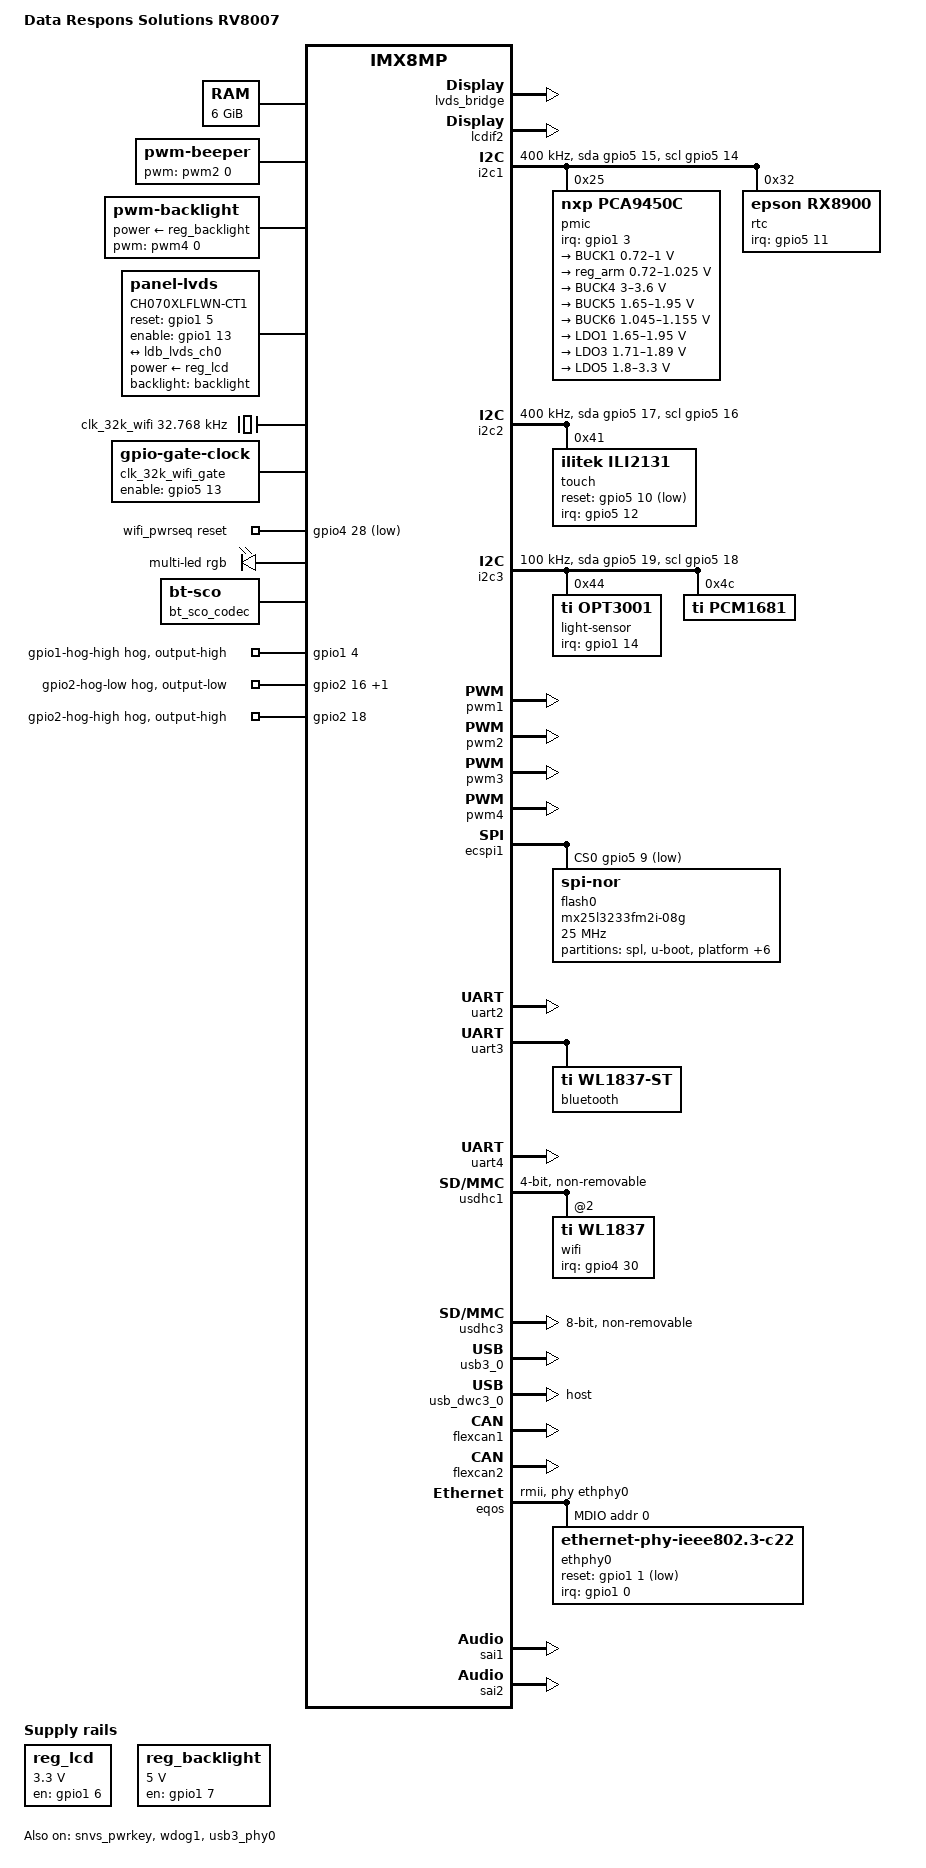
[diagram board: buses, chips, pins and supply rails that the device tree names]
/*
 * Copyright DATA RESPONS AB
 *
 * The code contained herein is licensed under the GNU General Public
 * License. You may obtain a copy of the GNU General Public License
 * Version 2 or later at the following locations:
 *
 * http://www.opensource.org/licenses/gpl-license.html
 * http://www.gnu.org/copyleft/gpl.html
 */

/dts-v1/;

#include <dt-bindings/leds/common.h>
#include "imx8mp.dtsi"

/ {
	model = "Data Respons Solutions RV8007";
	compatible = "drs,rv8007", "fsl,imx8mp";

	aliases {
		spi0 = &ecspi1;
		rtc0 = &rtc;
		rtc1 = &snvs_rtc;
		ethernet0 = &eqos;
		ethernet1 = &fec;
	};

	chosen {
		stdout-path = &uart2;
	};

	memory@40000000 {
		device_type = "memory";
		reg = <0x0 0x40000000 0 0xc0000000>,
		      <0x1 0x00000000 0 0xc0000000>;
	};

	beeper {
		compatible = "pwm-beeper";
		pwms = <&pwm2 0 1000000 0>;
		beeper-hz = <2731>;
	};

	reg_lcd: regulator-lcd {
		compatible = "regulator-fixed";
		pinctrl-names = "default";
		pinctrl-0 = <&pinctrl_reg_lcd>;
		regulator-name = "LCD_CON-VDD";
		regulator-min-microvolt = <3300000>;
		regulator-max-microvolt = <3300000>;
		gpio = <&gpio1 6 GPIO_ACTIVE_HIGH>;
		off-on-delay-us = <20000>;
		enable-active-high;
	};

	reg_backlight: regulator-backlight {
		compatible = "regulator-fixed";
		pinctrl-names = "default";
		pinctrl-0 = <&pinctrl_reg_backlight>;
		regulator-name = "VCC_BKL";
		regulator-min-microvolt = <5000000>;
		regulator-max-microvolt = <5000000>;
		gpio = <&gpio1 7 GPIO_ACTIVE_HIGH>;
		off-on-delay-us = <20000>;
		enable-active-high;
	};

	backlight: backlight {
		compatible = "pwm-backlight";
		power-supply = <&reg_backlight>;
		pwms = <&pwm4 0 1000000 0>;
        brightness-levels = <	0 1 2 3 4 5 6 7 8 9 10 15 20 25
        						30 40 50 60 70 80 90 100 120 150
        					>;
		default-brightness-level = <23>;
		status = "okay";
	};

	panel_lvds: ch070xlflwn-ct1 {
		compatible = "panel-lvds";
		pinctrl-names = "default";
		pinctrl-0 = <&pinctrl_panel>;
		label = "CH070XLFLWN-CT1";
		data-mapping = "vesa-24";
		width-mm = <154>;
		height-mm = <86>;
		reset-gpios = <&gpio1 5 GPIO_ACTIVE_HIGH>;
		enable-gpios = <&gpio1 13 GPIO_ACTIVE_HIGH>;
		power-supply = <&reg_lcd>;
		backlight = <&backlight>;

		panel-timing {
			clock-frequency = <51200000>;
			hactive = <1024>;
			vactive = <600>;
			hback-porch = <250>;
			hfront-porch = <60>;
			vback-porch = <15>;
			vfront-porch = <10>;
			hsync-len = <10>;
			vsync-len = <10>;
		};

		port {
			panel_endpoint: endpoint {
				remote-endpoint = <&ldb_lvds_ch0>;
			};
		};
	};

	clk_32k_wifi: clk-32k-wifi {
		compatible = "fixed-clock";
		#clock-cells = <0>;
		clock-frequency = <32768>;
	};

    clk_32k_wifi_gate: clk32kwifigate {
		compatible = "gpio-gate-clock";
		pinctrl-names = "default";
		pinctrl-0 = <&pinctrl_clk_32k_wifi_gate>;
		clocks = <&clk_32k_wifi>;
		#clock-cells = <0>;
		enable-gpios = <&gpio5 13 GPIO_ACTIVE_HIGH>;
    };

	wifi_pwrseq: wifipwrseq {
		compatible = "mmc-pwrseq-simple";
		pinctrl-names = "default";
		pinctrl-0 = <&pinctrl_wifi_pwrseq>;
		reset-gpios = <&gpio4 28 GPIO_ACTIVE_LOW>;
		clocks = <&clk_32k_wifi_gate>;
		clock-names = "ext_clock";
		post-power-on-delay-ms = <500>;
	};

	front-led {
		compatible = "pwm-leds-multicolor";

		multi-led {
			color = <LED_COLOR_ID_RGB>;
			function = LED_FUNCTION_INDICATOR;
			max-brightness = <65535>;

			led-red {
				pwms = <&pwm3 0 1000000 0>;
				color = <LED_COLOR_ID_RED>;
			};

			led-blue {
				pwms = <&pwm1 0 1000000 0>;
				color = <LED_COLOR_ID_BLUE>;
			};
		};
	};

	bt_sco_codec: bt_sco_codec {
		#sound-dai-cells = <1>;
		compatible = "linux,bt-sco";
	};
/*
	sound-bt {
		compatible = "simple-audio-card";
		simple-audio-card,name = "rv8007-bt";
		simple-audio-card,format = "dsp_a";

		simple-audio-card,cpu {
			sound-dai = <&sai2>;
			frame-master;
			bitclock-master;
			bitclock-inversion;
		};

		simple-audio-card,codec {
			sound-dai = <&bt_sco_codec 1>;
		};
	};
*/

	sound-out {
		compatible = "simple-audio-card";
		simple-audio-card,name = "rv8007";
		label = "rv8007";
		simple-audio-card,format = "left_j";
		simple-audio-card,widgets =
			"Line", "OUTFL",
			"Line", "OUTFR",
			"Line", "OUTRL",
			"Line", "OUTRR",
			"Line", "OUTSL",
			"Line", "OUTSR";
		simple-audio-card,routing =
			"OUTFL", "VOUT1",
			"OUTFR", "VOUT2",
			"OUTRL", "VOUT3",
			"OUTRR", "VOUT4",
			"OUTSL", "VOUT5",
			"OUTSR", "VOUT6";

		soundoutcpu: simple-audio-card,cpu {
			sound-dai = <&sai1>;
			frame-master;
			bitclock-master;
			system-clock-direction-out;
			clocks = <&audio_blk_ctrl IMX8MP_CLK_AUDIOMIX_SAI1_MCLK1>;
			dai-tdm-slot-num = <8>;
			dai-tdm-slot-width = <32>;
		};

		simple-audio-card,codec {
			sound-dai = <&pcm1681>;
			dai-tdm-slot-num = <8>;
			dai-tdm-slot-width = <32>;
		};
	};

};

&ldb_lvds_ch0 {
	remote-endpoint = <&panel_endpoint>;
};

&lvds_bridge {
	assigned-clocks = <&clk IMX8MP_CLK_MEDIA_LDB>,
					<&clk IMX8MP_AUDIO_PLL2_OUT>;
	assigned-clock-rates = <358400000>, <358400000>;
	assigned-clock-parents = <&clk IMX8MP_AUDIO_PLL2_OUT>;
	status = "okay";
};

&lcdif2 {
	status = "okay";
};

&A53_0 {
	cpu-supply = <&reg_arm>;
};

&A53_1 {
	cpu-supply = <&reg_arm>;
};

&A53_2 {
	cpu-supply = <&reg_arm>;
};

&A53_3 {
	cpu-supply = <&reg_arm>;
};

&i2c1 {
	clock-frequency = <400000>;
	pinctrl-names = "default", "gpio";
	pinctrl-0 = <&pinctrl_i2c1>;
	pinctrl-1 = <&pinctrl_i2c1_gpio>;
	scl-gpios = <&gpio5 14 GPIO_OPEN_DRAIN>;
	sda-gpios = <&gpio5 15 GPIO_OPEN_DRAIN>;
	status = "okay";

	pmic@25 {
		compatible = "nxp,pca9450c";
		reg = <0x25>;
		pinctrl-names = "default";
		pinctrl-0 = <&pinctrl_pmic>;
		interrupt-parent = <&gpio1>;
		interrupts = <3 IRQ_TYPE_LEVEL_LOW>;

		regulators {
			BUCK1 {
				regulator-name = "BUCK1";
				regulator-min-microvolt = <720000>;
				regulator-max-microvolt = <1000000>;
				regulator-boot-on;
				regulator-always-on;
				regulator-ramp-delay = <3125>;
			};

			reg_arm: BUCK2 {
				regulator-name = "BUCK2";
				regulator-min-microvolt = <720000>;
				regulator-max-microvolt = <1025000>;
				regulator-boot-on;
				regulator-always-on;
				regulator-ramp-delay = <3125>;
				nxp,dvs-run-voltage = <950000>;
				nxp,dvs-standby-voltage = <850000>;
			};

			BUCK4 {
				regulator-name = "BUCK4";
				regulator-min-microvolt = <3000000>;
				regulator-max-microvolt = <3600000>;
				regulator-boot-on;
				regulator-always-on;
			};

			BUCK5 {
				regulator-name = "BUCK5";
				regulator-min-microvolt = <1650000>;
				regulator-max-microvolt = <1950000>;
				regulator-boot-on;
				regulator-always-on;
			};

			BUCK6 {
				regulator-name = "BUCK6";
				regulator-min-microvolt = <1045000>;
				regulator-max-microvolt = <1155000>;
				regulator-boot-on;
				regulator-always-on;
			};

			LDO1 {
				regulator-name = "LDO1";
				regulator-min-microvolt = <1650000>;
				regulator-max-microvolt = <1950000>;
				regulator-boot-on;
				regulator-always-on;
			};

			LDO3 {
				regulator-name = "LDO3";
				regulator-min-microvolt = <1710000>;
				regulator-max-microvolt = <1890000>;
				regulator-boot-on;
				regulator-always-on;
			};

			LDO5 {
				regulator-name = "LDO5";
				regulator-min-microvolt = <1800000>;
				regulator-max-microvolt = <3300000>;
				regulator-boot-on;
				regulator-always-on;
			};
		};
	};

	rtc: rtc@32 {
    	compatible = "epson,rx8900";
        reg = <0x32>;
		pinctrl-names = "default";
		pinctrl-0 = <&pinctrl_rtc>;
		interrupt-parent = <&gpio5>;
		interrupts = <11 IRQ_TYPE_EDGE_FALLING>;
	};
};

&i2c2 {
	clock-frequency = <400000>;
	pinctrl-names = "default", "gpio";
	pinctrl-0 = <&pinctrl_i2c2>;
	pinctrl-1 = <&pinctrl_i2c2_gpio>;
	scl-gpios = <&gpio5 16 GPIO_OPEN_DRAIN>;
	sda-gpios = <&gpio5 17 GPIO_OPEN_DRAIN>;
	status = "okay";

	touch: ili2131@41 {
		compatible = "ilitek,ili2131";
		reg = <0x41>;
		pinctrl-names = "default";
		pinctrl-0 = <&pinctrl_touch>;
		interrupt-parent = <&gpio5>;
		interrupts = <12 IRQ_TYPE_EDGE_FALLING>;
		reset-gpios = <&gpio5 10 GPIO_ACTIVE_LOW>;
	};
};

&i2c3 {
	clock-frequency = <100000>;
	pinctrl-names = "default", "gpio";
	pinctrl-0 = <&pinctrl_i2c3>;
	pinctrl-1 = <&pinctrl_i2c3_gpio>;
	scl-gpios = <&gpio5 18 GPIO_OPEN_DRAIN>;
	sda-gpios = <&gpio5 19 GPIO_OPEN_DRAIN>;
	status = "okay";

	light-sensor@44 {
		compatible = "ti,opt3001";
		reg = <0x44>;
		pinctrl-names = "default";
		pinctrl-0 = <&pinctrl_light_sensor>;
		interrupt-parent = <&gpio1>;
		interrupts = <14 IRQ_TYPE_EDGE_FALLING>;
	};

	pcm1681: pcm1681@4c {
		compatible = "ti,pcm1681";
		reg = <0x4c>;
		#sound-dai-cells = <0>;
		clocks = <&audio_blk_ctrl IMX8MP_CLK_AUDIOMIX_SAI1_MCLK1>;
		clock-names = "mclk";
	};
};

&pwm1 {
	pinctrl-names = "default";
	pinctrl-0 = <&pinctrl_pwm1>;
	status = "okay";
};

&pwm2 {
	pinctrl-names = "default";
	pinctrl-0 = <&pinctrl_pwm2>;
	status = "okay";
};

&pwm3 {
	pinctrl-names = "default";
	pinctrl-0 = <&pinctrl_pwm3>;
	status = "okay";
};

&pwm4 {
	pinctrl-names = "default";
	pinctrl-0 = <&pinctrl_pwm4>;
	status = "okay";
};

&ecspi1 {
	cs-gpios = <&gpio5 9 GPIO_ACTIVE_LOW>;
	pinctrl-names = "default";
	pinctrl-0 = <&pinctrl_ecspi1>;
	status = "okay";

	flash0: mx25l3233fm2i-08g@0 {
		reg = <0>;
		#address-cells = <1>;
		#size-cells = <1>;
		compatible = "jedec,spi-nor";
		spi-max-frequency = <25000000>;

		partitions {
			compatible = "fixed-partitions";
			#address-cells = <1>;
			#size-cells = <1>;

			spl@0 {
				label = "spl";
				reg = <0x000000 0x040000>;
			};

			u-boot@40000 {
				label = "u-boot";
				reg = <0x040000 0x190000>;
			};

			platform@1D0000 {
				label = "platform";
				reg = <0x1D0000 0x010000>;
				read-only;
			};

			system_a@1E0000 {
				label = "system_a";
				reg = <0x1E0000 0x010000>;
			};

			system_b@1F0000 {
				label = "system_b";
				reg = <0x1F0000 0x010000>;
			};

			spl-second@200000 {
				label = "spl-second";
				reg = <0x200000 0x040000>;
			};

			u-boot-second@240000 {
				label = "u-boot-second";
				reg = <0x240000 0x190000>;
			};

			user_a@3D0000 {
				label = "user_a";
				reg = <0x3D0000 0x010000>;
			};

			user_b@3E0000 {
				label = "user_b";
				reg = <0x3E0000 0x010000>;
			};
		};
	};
};

&snvs_pwrkey {
	status = "okay";
};

&uart2 { /* console */
	pinctrl-names = "default";
	pinctrl-0 = <&pinctrl_uart2>;
	status = "okay";
};

&uart3 { /* bluetooth */
	pinctrl-names = "default";
	pinctrl-0 = <&pinctrl_uart3>;
	uart-has-rtscts;
	status = "okay";

	bluetooth: bluetooth {
		compatible = "ti,wl1837-st";
		clocks = <&clk_32k_wifi_gate>;
		clock-names = "ext_clock";
	};
};

&uart4 { /* LIN */
	pinctrl-names = "default";
	pinctrl-0 = <&pinctrl_uart4>;
	status = "okay";
};

&usdhc1 {
	pinctrl-names = "default";
	pinctrl-0 = <&pinctrl_usdhc1>;
	bus-width = <4>;
	non-removable;
	cap-power-off-card;
	keep-power-in-suspend;
	#address-cells = <1>;
	#size-cells = <0>;
	status = "okay";
	mmc-pwrseq = <&wifi_pwrseq>;

	wifi: wifi@2 {
		compatible = "ti,wl1837";
		reg = <2>;
		interrupt-parent = <&gpio4>;
		interrupts = <30 IRQ_TYPE_LEVEL_HIGH>;
	};
};

&usdhc3 {
	assigned-clocks = <&clk IMX8MP_CLK_USDHC3>;
	assigned-clock-rates = <400000000>;
	pinctrl-names = "default", "state_100mhz", "state_200mhz";
	pinctrl-0 = <&pinctrl_usdhc3>;
	pinctrl-1 = <&pinctrl_usdhc3_100mhz>;
	pinctrl-2 = <&pinctrl_usdhc3_200mhz>;
	bus-width = <8>;
	non-removable;
	status = "okay";
};

&wdog1 {
	pinctrl-names = "default";
	pinctrl-0 = <&pinctrl_wdog>;
	fsl,ext-reset-output;
	status = "okay";
};

&usb3_phy0 {
	status = "okay";
};

&usb3_0 {
	status = "okay";
};

&usb_dwc3_0 {
	pinctrl-names = "default";
	pinctrl-0 = <&pinctrl_usb0>;
	dr_mode = "host";
	status = "okay";
};

&flexcan1 {
	pinctrl-names = "default";
	pinctrl-0 = <&pinctrl_flexcan1>;
	status = "okay";
};

&flexcan2 {
	pinctrl-names = "default";
	pinctrl-0 = <&pinctrl_flexcan2>;
	status = "okay";
};

&eqos {
	pinctrl-names = "default";
	pinctrl-0 = <&pinctrl_eqos>;
	phy-mode = "rmii";
	phy-handle = <&ethphy0>;
	/* Ref clk as 50MHz */
	assigned-clock-parents = <&clk IMX8MP_SYS_PLL1_266M>,
				 <&clk IMX8MP_SYS_PLL2_100M>,
				 <&clk IMX8MP_SYS_PLL2_50M>;
	assigned-clock-rates = <0>, <100000000>, <50000000>;
	status = "okay";

	mdio {
		compatible = "snps,dwmac-mdio";
		#address-cells = <1>;
		#size-cells = <0>;

		ethphy0: ethernet-phy@0 {
			compatible = "ethernet-phy-ieee802.3-c22";
			reg = <0>;
            interrupt-parent = <&gpio1>;
            interrupts = <0 IRQ_TYPE_EDGE_FALLING>;
			reset-names = "phy";
			reset-gpios = <&gpio1 1 GPIO_ACTIVE_LOW>;
            reset-assert-us = <500>;
            reset-deassert-us = <100>;
		};
	};
};

&gpio1 {
	pinctrl-names = "default";
	pinctrl-0 = <&pinctrl_gpio1_hog>;

	/* Permanently un-mute audio */
	gpio1-hog-high {
		gpio-hog;
		gpios = <4 GPIO_ACTIVE_HIGH>;
		output-high;
	};
};

&gpio2 {
	pinctrl-names = "default";
	pinctrl-0 = <&pinctrl_gpio2_hog>;

	/* Always enable CAN */
	gpio2-hog-low {
		gpio-hog;
		gpios = <16 GPIO_ACTIVE_HIGH>,
				<17 GPIO_ACTIVE_HIGH>;
		output-low;
	};

	/* Always enable LIN */
	gpio2-hog-high {
		gpio-hog;
		gpios = <18 GPIO_ACTIVE_HIGH>;
		output-high;
	};
};

&audio_blk_ctrl {
	assigned-clocks = <&clk IMX8MP_CLK_SAI1>,
				<&clk IMX8MP_AUDIO_PLL1_OUT>;
	assigned-clock-parents = <&clk IMX8MP_AUDIO_PLL1_OUT>;
	assigned-clock-rates = <11289600>, <11289600>; /* 44.1 KHz*/
};

&sai1 {
	pinctrl-names = "default";
	pinctrl-0 = <&pinctrl_sai1>;
	/* Disable mclk[2,3] to force TX/RX clock from mclk[1]
	 * due to pcm1681 recommendations of deriving BCLK from SCLK */
	clocks = <&audio_blk_ctrl IMX8MP_CLK_AUDIOMIX_SAI1_IPG>,
		<&clk IMX8MP_CLK_DUMMY>,
		<&audio_blk_ctrl IMX8MP_CLK_AUDIOMIX_SAI1_MCLK1>,
		<&clk IMX8MP_CLK_DUMMY>,
		<&clk IMX8MP_CLK_DUMMY>;
	assigned-clocks = <&clk IMX8MP_CLK_SAI1>;
	fsl,sai-mclk-direction-output;
	status = "okay";
};

&sai2 {
	pinctrl-names = "default";
	pinctrl-0 = <&pinctrl_sai2>;
	assigned-clocks = <&clk IMX8MP_CLK_SAI2>;
	assigned-clock-parents = <&clk IMX8MP_AUDIO_PLL1_OUT>;
	assigned-clock-rates = <12288000>;
	fsl,sai-mclk-direction-output;
	status = "okay";
};

/* VPU/ISP not available on i.MX 8M Plus QuadLite */
&vpu_g1 {
	status = "disabled";
};
&vpu_g2 {
	status = "disabled";
};
&vpumix_blk_ctrl {
	status = "disabled";
};
&pgc_vpumix {
	status = "disabled";
};
&pgc_vpu_g1 {
	status = "disabled";
};
&pgc_vpu_g2 {
	status = "disabled";
};
&pgc_vpu_vc8000e {
	status = "disabled";
};

/* Reserved by optee */
&sec_jr2 {
	status = "disabled";
};

&iomuxc {
#if 0
			/* UNUSED PINS */
			MX8MP_IOMUXC_GPIO1_IO09__GPIO1_IO09		0x000 /* WP_Flash */
			MX8MP_IOMUXC_SAI3_TXD__GPIO5_IO01		0x080 /* IRQ_BLE-1V8-BT */
			MX8MP_IOMUXC_SAI3_RXC__GPIO4_IO29		0x000 /* EN-1v8-BT */
			MX8MP_IOMUXC_SAI1_TXD2__AUDIOMIX_SAI1_TX_DATA02	0x0d6 /* PCM_DAT2-PCMDAC */
			MX8MP_IOMUXC_SAI1_TXD1__AUDIOMIX_SAI1_TX_DATA01	0x0d6 /* PCM_DAT1-PCMDAC */
#endif

	pinctrl_sai1: sai1grp {
		fsl,pins = <
			MX8MP_IOMUXC_SAI1_MCLK__AUDIOMIX_SAI1_MCLK		0x0d6 /* PCM_SCLK-PCMDAC */
			MX8MP_IOMUXC_SAI1_TXFS__AUDIOMIX_SAI1_TX_SYNC	0x0d6 /* PCM_LRCK-PCMDAC */
			MX8MP_IOMUXC_SAI1_TXC__AUDIOMIX_SAI1_TX_BCLK	0x0d6 /* PCM_BCLK-PCMDAC */
			MX8MP_IOMUXC_SAI1_TXD0__AUDIOMIX_SAI1_TX_DATA00	0x0d6 /* PCM_DAT0-PCMDAC */
		>;
	};

	pinctrl_sai2: sai2grp {
		fsl,pins = <
			MX8MP_IOMUXC_SAI2_TXFS__AUDIOMIX_SAI2_TX_SYNC	0x0d6 /* PCM_FSYNC-1v8-BT */
			MX8MP_IOMUXC_SAI2_TXC__AUDIOMIX_SAI2_TX_BCLK	0x0d6 /* PCM_SCLK-1v8-BT */
			MX8MP_IOMUXC_SAI2_TXD0__AUDIOMIX_SAI2_TX_DATA00	0x0d6 /* PCM_IN-1v8-BT */
			MX8MP_IOMUXC_SAI2_RXD0__AUDIOMIX_SAI2_RX_DATA00	0x0d6 /* PCM_OUT-1v8-BT */
		>;
	};

	pinctrl_gpio1_hog: gpio1hoggrp {
		fsl,pins = <
			MX8MP_IOMUXC_GPIO1_IO04__GPIO1_IO04		0x000 /* LINE_nMUTE-A */
		>;
	};

	pinctrl_gpio2_hog: gpio2hoggrp {
		fsl,pins = <
			MX8MP_IOMUXC_SD2_DATA1__GPIO2_IO16		0x000 /* S-CAN_A */
			MX8MP_IOMUXC_SD2_DATA2__GPIO2_IO17		0x000 /* S-CAN_B */
			MX8MP_IOMUXC_SD2_DATA3__GPIO2_IO18		0x000 /* EN-LIN */
		>;
	};

	pinctrl_reg_lcd: reglcdgrp {
		fsl,pins = <
			MX8MP_IOMUXC_GPIO1_IO06__GPIO1_IO06		0x000 /* EN_PWR-LCD */
		>;
	};

	pinctrl_reg_backlight: regbacklightgrp {
		fsl,pins = <
			MX8MP_IOMUXC_GPIO1_IO07__GPIO1_IO07		0x000 /* EN_PWR-VLED */
		>;
	};

	pinctrl_panel: panelgrp {
		fsl,pins = <
			MX8MP_IOMUXC_GPIO1_IO13__GPIO1_IO13		0x000 /* LCD-STBY */
			MX8MP_IOMUXC_GPIO1_IO05__GPIO1_IO05		0x000 /* LCD_CON-RESET */
		>;
	};

	pinctrl_eqos: eqosgrp {
		fsl,pins = <
			MX8MP_IOMUXC_ENET_MDC__ENET_QOS_MDC				0x002 /* RMII_MDC-ETH_A */
			MX8MP_IOMUXC_ENET_MDIO__ENET_QOS_MDIO			0x002 /* RMII_MDIO-ETH_A */
			MX8MP_IOMUXC_ENET_TX_CTL__ENET_QOS_RGMII_TX_CTL	0x016 /* RMII_TXEN-ETH_A */
			MX8MP_IOMUXC_ENET_TXC__ENET_QOS_TX_ER			0x016 /* - */
			MX8MP_IOMUXC_ENET_TD0__ENET_QOS_RGMII_TD0		0x016 /* RMII_TXD0-ETH_A */
			MX8MP_IOMUXC_ENET_TD1__ENET_QOS_RGMII_TD1		0x016 /* RMII_TXD1-ETH_A */
			MX8MP_IOMUXC_ENET_TD2__CCM_ENET_QOS_CLOCK_GENERATE_REF_CLK	0x016 /* REF_CLKF-ETH_A */
			MX8MP_IOMUXC_ENET_RX_CTL__ENET_QOS_RGMII_RX_CTL	0x080 /* RMII_RX-CRSDV-ETH_A */
			MX8MP_IOMUXC_ENET_RXC__ENET_QOS_RX_ER			0x080 /* RMII_RXER-ETH_A */
			MX8MP_IOMUXC_ENET_RD0__ENET_QOS_RGMII_RD0		0x080 /* RMII_RXD0-ETH_A */
			MX8MP_IOMUXC_ENET_RD1__ENET_QOS_RGMII_RD1		0x080 /* RMII_RXD1-ETH_A */
			MX8MP_IOMUXC_GPIO1_IO00__GPIO1_IO00				0x080 /* nINT-ETH_A */
			MX8MP_IOMUXC_GPIO1_IO01__GPIO1_IO01				0x000 /* nRST-ETH_A */
		>;
	};

	pinctrl_flexcan1: flexcan1grp {
		fsl,pins = <
			MX8MP_IOMUXC_HDMI_DDC_SCL__CAN1_TX		0x140 /* CAN-RX-CAN_A */
			MX8MP_IOMUXC_HDMI_DDC_SDA__CAN1_RX		0x1c0 /* CAN-TX-CAN_A */
		>;
	};

	pinctrl_flexcan2: flexcan2grp {
		fsl,pins = <
			MX8MP_IOMUXC_HDMI_HPD__CAN2_RX			0x1c0 /* CAN-RX-CAN_B */
			MX8MP_IOMUXC_HDMI_CEC__CAN2_TX			0x140 /* CAN-TX-CAN_B */
		>;
	};
	pinctrl_usb0: usb0grp {
		fsl,pins = <
			MX8MP_IOMUXC_GPIO1_IO12__USB1_OTG_PWR	0x000 /* VBUS_EN-CN_A */
		>;
	};

	pinctrl_ecspi1: ecspi1grp {
		fsl,pins = <
			MX8MP_IOMUXC_ECSPI1_SCLK__ECSPI1_SCLK	0x096 /* ECSPI1_SCLK-Flash */
			MX8MP_IOMUXC_ECSPI1_MISO__ECSPI1_MISO	0x096 /* ECSPI1_MISO-Flash */
			MX8MP_IOMUXC_ECSPI1_MOSI__ECSPI1_MOSI	0x096 /* ECSPI1_MOSI-Flash */
			MX8MP_IOMUXC_ECSPI1_SS0__GPIO5_IO09		0x000 /* ECSPI1_SS0-Flash */
		>;
	};

	pinctrl_i2c1: i2c1grp {
		fsl,pins = <
			MX8MP_IOMUXC_I2C1_SCL__I2C1_SCL			0x400001c3 /* I2C1_SCL */
			MX8MP_IOMUXC_I2C1_SDA__I2C1_SDA			0x400001c3 /* I2C1_SDA */
		>;
	};

	pinctrl_i2c1_gpio: i2c1gpiogrp {
		fsl,pins = <
			MX8MP_IOMUXC_I2C1_SCL__GPIO5_IO14		0x1e3 /* I2C1_SCL */
			MX8MP_IOMUXC_I2C1_SDA__GPIO5_IO15		0x1e3 /* I2C1_SDA */
		>;
	};

	pinctrl_i2c2: i2c2grp {
		fsl,pins = <
			MX8MP_IOMUXC_I2C2_SCL__I2C2_SCL			0x400001c3 /* I2C2_SCL */
			MX8MP_IOMUXC_I2C2_SDA__I2C2_SDA			0x400001c3 /* I2C2_SDA */
		>;
	};

	pinctrl_i2c2_gpio: i2c2gpiogrp {
		fsl,pins = <
			MX8MP_IOMUXC_I2C2_SCL__GPIO5_IO16		0x1e3 /* I2C2_SCL */
			MX8MP_IOMUXC_I2C2_SDA__GPIO5_IO17		0x1e3 /* I2C2_SDA */
		>;
	};

	pinctrl_i2c3: i2c3grp {
		fsl,pins = <
			MX8MP_IOMUXC_I2C3_SCL__I2C3_SCL			0x400001c3 /* I2C3_SCL */
			MX8MP_IOMUXC_I2C3_SDA__I2C3_SDA			0x400001c3 /* I2C3_SDA */
		>;
	};

	pinctrl_i2c3_gpio: i2c3gpiogrp {
		fsl,pins = <
			MX8MP_IOMUXC_I2C3_SCL__GPIO5_IO18		0x1e3 /* I2C3_SCL */
			MX8MP_IOMUXC_I2C3_SDA__GPIO5_IO19		0x1e3 /* I2C3_SDA */
		>;
	};

	pinctrl_pmic: pmicirqgrp {
		fsl,pins = <
			MX8MP_IOMUXC_GPIO1_IO03__GPIO1_IO03		0x1c0 /* PMIC_nINT */
		>;
	};

	pinctrl_rtc: rtcgrp {
		fsl,pins = <
			MX8MP_IOMUXC_ECSPI2_MOSI__GPIO5_IO11	0x1c0 /* nINT-RTC_A */
		>;
	};

	pinctrl_touch: touchgrp {
		fsl,pins = <
			MX8MP_IOMUXC_ECSPI2_MISO__GPIO5_IO12	0x000 /* nINT_TP */
			MX8MP_IOMUXC_ECSPI2_SCLK__GPIO5_IO10	0x080 /* nRST_TP*/
		>;
	};

	pinctrl_light_sensor: lightsensorgrp {
		fsl,pins = <
			MX8MP_IOMUXC_GPIO1_IO14__GPIO1_IO14		0x080 /* INT_Sensor */
		>;
	};

	pinctrl_pwm1: pwm1grp {
		fsl,pins = <
			MX8MP_IOMUXC_GPIO1_IO08__PWM1_OUT		0x000 /* PWM_LEDB */
		>;
	};

	pinctrl_pwm2: pwm2grp {
		fsl,pins = <
			MX8MP_IOMUXC_GPIO1_IO11__PWM2_OUT		0x000 /* PWM_BUZZER */
		>;
	};

	pinctrl_pwm3: pwm3grp {
		fsl,pins = <
			MX8MP_IOMUXC_GPIO1_IO10__PWM3_OUT		0x000 /* PWM_LEDR */
		>;
	};

	pinctrl_pwm4: pwm4grp {
		fsl,pins = <
			MX8MP_IOMUXC_GPIO1_IO15__PWM4_OUT		0x000 /* PWM-LCD_BL */
		>;
	};

	pinctrl_uart2: uart2grp {
		fsl,pins = <
			MX8MP_IOMUXC_UART2_RXD__UART2_DCE_RX	0x080 /* UART_RX-DEBUG_CN */
			MX8MP_IOMUXC_UART2_TXD__UART2_DCE_TX	0x000 /* UART_TX-DEBUG_CN */
		>;
	};

	pinctrl_uart3: uart3grp {
		fsl,pins = <
			MX8MP_IOMUXC_SD1_DATA6__UART3_DCE_TX	0x000 /* UART_RXDI-1v8-BT */
			MX8MP_IOMUXC_SD1_DATA7__UART3_DCE_RX	0x080 /* UART_TXDO-1v8-BT */
			MX8MP_IOMUXC_SD1_RESET_B__UART3_DCE_RTS	0x080 /* UART_RTSO-1v8-BT */
			MX8MP_IOMUXC_SD1_STROBE__UART3_DCE_CTS	0x000 /* UART_CTSI-1v8-BT */
		>;
	};

	pinctrl_uart4: uart4grp {
		fsl,pins = <
			MX8MP_IOMUXC_UART4_RXD__UART4_DCE_RX	0x080 /* UART_RXD-LIN */
			MX8MP_IOMUXC_UART4_TXD__UART4_DCE_TX	0x000 /* UART_TXD-LIN */
		>;
	};

	pinctrl_usdhc1: usdhc1grp {
		fsl,pins = <
			MX8MP_IOMUXC_SD1_CLK__USDHC1_CLK		0x190 /* SDIO_CLK-1v8-WLAN */
			MX8MP_IOMUXC_SD1_CMD__USDHC1_CMD		0x1d0 /* SDIO_CMD-1v8-WLAN */
			MX8MP_IOMUXC_SD1_DATA0__USDHC1_DATA0	0x1d0 /* SDIO_D0-1v8-WLAN */
			MX8MP_IOMUXC_SD1_DATA1__USDHC1_DATA1	0x1d0 /* SDIO_D1-1v8-WLAN */
			MX8MP_IOMUXC_SD1_DATA2__USDHC1_DATA2	0x1d0 /* SDIO_D2-1v8-WLAN */
			MX8MP_IOMUXC_SD1_DATA3__USDHC1_DATA3	0x1d0 /* SDIO_D3-1v8-WLAN */
			MX8MP_IOMUXC_SAI3_RXD__GPIO4_IO30		0x080 /* IRQ-1v8-WLAN */
		>;
	};

	pinctrl_usdhc3: usdhc3grp {
		fsl,pins = <
			MX8MP_IOMUXC_NAND_WE_B__USDHC3_CLK		0x190 /* SD_CLK-eMMC */
			MX8MP_IOMUXC_NAND_WP_B__USDHC3_CMD		0x1d0 /* SD_CMD-eMMC */
			MX8MP_IOMUXC_NAND_DATA04__USDHC3_DATA0	0x1d0 /* SD_D0-eMMC */
			MX8MP_IOMUXC_NAND_DATA05__USDHC3_DATA1	0x1d0 /* SD_D1-eMMC */
			MX8MP_IOMUXC_NAND_DATA06__USDHC3_DATA2	0x1d0 /* SD_D2-eMMC */
			MX8MP_IOMUXC_NAND_DATA07__USDHC3_DATA3	0x1d0 /* SD_D3-eMMC */
			MX8MP_IOMUXC_NAND_RE_B__USDHC3_DATA4	0x1d0 /* SD_D4-eMMC */
			MX8MP_IOMUXC_NAND_CE2_B__USDHC3_DATA5	0x1d0 /* SD_D5-eMMC */
			MX8MP_IOMUXC_NAND_CE3_B__USDHC3_DATA6	0x1d0 /* SD_D6-eMMC */
			MX8MP_IOMUXC_NAND_CLE__USDHC3_DATA7		0x1d0 /* SD_D7-eMMC */
			MX8MP_IOMUXC_NAND_CE1_B__USDHC3_STROBE	0x190 /* SD_STROBE-eMMC */
		>;
	};

	pinctrl_usdhc3_100mhz: usdhc3-100mhzgrp {
		fsl,pins = <
			MX8MP_IOMUXC_NAND_WE_B__USDHC3_CLK		0x194 /* SD_CLK-eMMC */
			MX8MP_IOMUXC_NAND_WP_B__USDHC3_CMD		0x1d4 /* SD_CMD-eMMC */
			MX8MP_IOMUXC_NAND_DATA04__USDHC3_DATA0	0x1d4 /* SD_D0-eMMC */
			MX8MP_IOMUXC_NAND_DATA05__USDHC3_DATA1	0x1d4 /* SD_D1-eMMC */
			MX8MP_IOMUXC_NAND_DATA06__USDHC3_DATA2	0x1d4 /* SD_D2-eMMC */
			MX8MP_IOMUXC_NAND_DATA07__USDHC3_DATA3	0x1d4 /* SD_D3-eMMC */
			MX8MP_IOMUXC_NAND_RE_B__USDHC3_DATA4	0x1d4 /* SD_D4-eMMC */
			MX8MP_IOMUXC_NAND_CE2_B__USDHC3_DATA5	0x1d4 /* SD_D5-eMMC */
			MX8MP_IOMUXC_NAND_CE3_B__USDHC3_DATA6	0x1d4 /* SD_D6-eMMC */
			MX8MP_IOMUXC_NAND_CLE__USDHC3_DATA7		0x1d4 /* SD_D7-eMMC */
			MX8MP_IOMUXC_NAND_CE1_B__USDHC3_STROBE	0x194 /* SD_STROBE-eMMC */
		>;
	};

	pinctrl_usdhc3_200mhz: usdhc3-200mhzgrp {
		fsl,pins = <
			MX8MP_IOMUXC_NAND_WE_B__USDHC3_CLK		0x196 /* SD_CLK-eMMC */
			MX8MP_IOMUXC_NAND_WP_B__USDHC3_CMD		0x1d6 /* SD_CMD-eMMC */
			MX8MP_IOMUXC_NAND_DATA04__USDHC3_DATA0	0x1d6 /* SD_D0-eMMC */
			MX8MP_IOMUXC_NAND_DATA05__USDHC3_DATA1	0x1d6 /* SD_D1-eMMC */
			MX8MP_IOMUXC_NAND_DATA06__USDHC3_DATA2	0x1d6 /* SD_D2-eMMC */
			MX8MP_IOMUXC_NAND_DATA07__USDHC3_DATA3	0x1d6 /* SD_D3-eMMC */
			MX8MP_IOMUXC_NAND_RE_B__USDHC3_DATA4	0x1d6 /* SD_D4-eMMC */
			MX8MP_IOMUXC_NAND_CE2_B__USDHC3_DATA5	0x1d6 /* SD_D5-eMMC */
			MX8MP_IOMUXC_NAND_CE3_B__USDHC3_DATA6	0x1d6 /* SD_D6-eMMC */
			MX8MP_IOMUXC_NAND_CLE__USDHC3_DATA7		0x1d6 /* SD_D7-eMMC */
			MX8MP_IOMUXC_NAND_CE1_B__USDHC3_STROBE	0x196 /* SD_STROBE-eMMC */
		>;
	};

	pinctrl_clk_32k_wifi_gate: clk32kwifigategrp {
		fsl,pins = <
			MX8MP_IOMUXC_ECSPI2_SS0__GPIO5_IO13		0x000 /* EN_32KO-RTC */
		>;
	};

	pinctrl_wifi_pwrseq: wifipwrseqgrp {
		fsl,pins = <
			MX8MP_IOMUXC_SAI3_RXFS__GPIO4_IO28		0x000 /* EN-1v8-WLAN */
		>;
	};

	pinctrl_wdog: wdoggrp {
		fsl,pins = <
			MX8MP_IOMUXC_GPIO1_IO02__WDOG1_WDOG_B	0x166 /* WDOG_B */
		>;
	};
};
